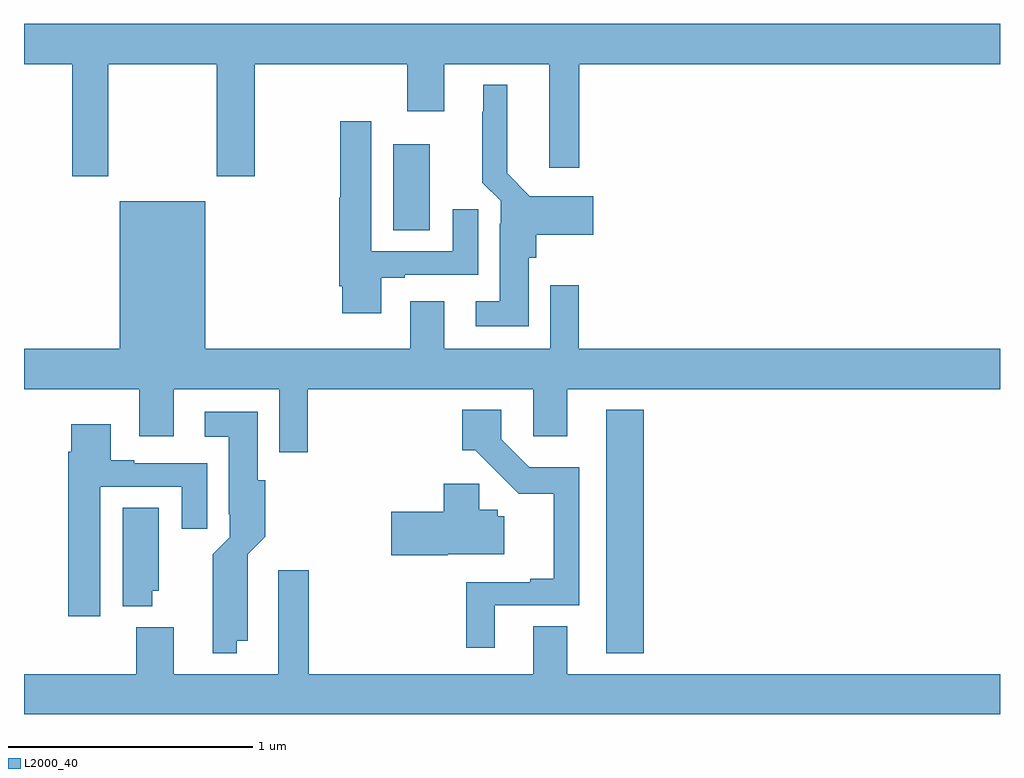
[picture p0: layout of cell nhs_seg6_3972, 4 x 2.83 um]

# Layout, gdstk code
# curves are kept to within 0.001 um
import gdstk
lib = gdstk.Library(unit=1e-6, precision=1e-09)
def R(c, l, rs):  # rectangles x0, y0, x1, y1
    for r in rs: c.add(gdstk.rectangle(r[:2], r[2:], *l))
def P(c, l, *ps):  # polygons
    for p in ps: c.add(gdstk.Polygon(p, *l))
L2000_40 = (2000, 40)

nhs_seg6_3972 = lib.new_cell('nhs_seg6_3972')
R(nhs_seg6_3972, L2000_40, [(347.387,964.901,347.54,965.899), (346.514,966.634,346.663,966.988)])
P(nhs_seg6_3972, L2000_40, [(345.345,967.316),(345.79,967.316),(345.79,966.855),(345.945,966.855),(345.945,967.316),(346.571,967.316),(346.571,967.122),(346.723,967.122),(346.723,967.316),(347.153,967.316),(347.153,966.891),(347.276,966.891),(347.276,967.316),(349,967.316),(349,967.48),(345,967.48),(345,967.316),(345.197,967.316),(345.197,966.855),(345.345,966.855)],
  [(347.068,966.522),(347.099,966.522),(347.099,966.617),(347.332,966.617),(347.332,966.775),(347.073,966.775),(346.981,966.868),(346.981,967.231),(346.883,967.231),(346.883,967.121),(346.879,967.121),(346.879,966.83),(346.953,966.756),(346.953,966.662),(346.949,966.662),(346.949,966.343),(346.851,966.343),(346.851,966.242),(347.068,966.242)],
  [(346.465,966.441),(346.561,966.441),(346.561,966.453),(346.861,966.453),(346.861,966.721),(346.757,966.721),(346.757,966.549),(346.423,966.549),(346.423,967.081),(346.297,967.081),(346.297,966.768),(346.292,966.768),(346.292,966.406),(346.304,966.406),(346.304,966.294),(346.465,966.294)],
  [(346.163,965.984),(347.088,965.984),(347.088,965.79),(347.227,965.79),(347.227,965.984),(349,965.984),(349,966.148),(347.273,966.148),(347.273,966.409),(347.157,966.409),(347.157,966.148),(346.723,966.148),(346.723,966.343),(346.583,966.343),(346.583,966.148),(345.742,966.148),(345.742,966.754),(345.392,966.754),(345.392,966.148),(345,966.148),(345,965.984),(345.473,965.984),(345.473,965.79),(345.613,965.79),(345.613,965.984),(346.047,965.984),(346.047,965.724),(346.163,965.724)],
  [(346.93,965.097),(347.275,965.097),(347.275,965.664),(347.07,965.664),(346.956,965.778),(346.956,965.899),(346.796,965.899),(346.796,965.732),(346.849,965.732),(347.027,965.555),(347.171,965.555),(347.171,965.206),(347.075,965.206),(347.075,965.193),(346.813,965.193),(346.813,964.923),(346.93,964.923)],
  [(345.871,964.952),(345.916,964.952),(345.917,965.306),(345.989,965.378),(345.989,965.61),(345.958,965.61),(345.958,965.89),(345.741,965.89),(345.741,965.789),(345.839,965.789),(345.839,965.47),(345.843,965.47),(345.843,965.376),(345.773,965.306),(345.774,964.901),(345.871,964.901)],
  [(345.313,965.583),(345.647,965.583),(345.647,965.412),(345.751,965.412),(345.751,965.679),(345.451,965.679),(345.451,965.692),(345.355,965.692),(345.355,965.839),(345.194,965.839),(345.194,965.726),(345.182,965.726),(345.182,965.052),(345.313,965.052)],
  [(346.737,965.306),(346.969,965.306),(346.969,965.463),(346.941,965.463),(346.941,965.49),(346.865,965.49),(346.865,965.595),(346.721,965.595),(346.721,965.48),(346.506,965.48),(346.506,965.302),(346.737,965.302)],
  [(345.526,965.157),(345.553,965.157),(345.553,965.498),(345.404,965.498),(345.404,965.093),(345.526,965.093)],
  [(349,964.816),(347.227,964.816),(347.227,965.011),(347.087,965.011),(347.087,964.816),(346.166,964.816),(346.166,965.242),(346.043,965.242),(346.043,964.816),(345.613,964.816),(345.613,965.008),(345.461,965.008),(345.461,964.816),(345,964.816),(345,964.652),(349,964.652)])

lib.write_gds('nhs_seg6_3972.gds')
